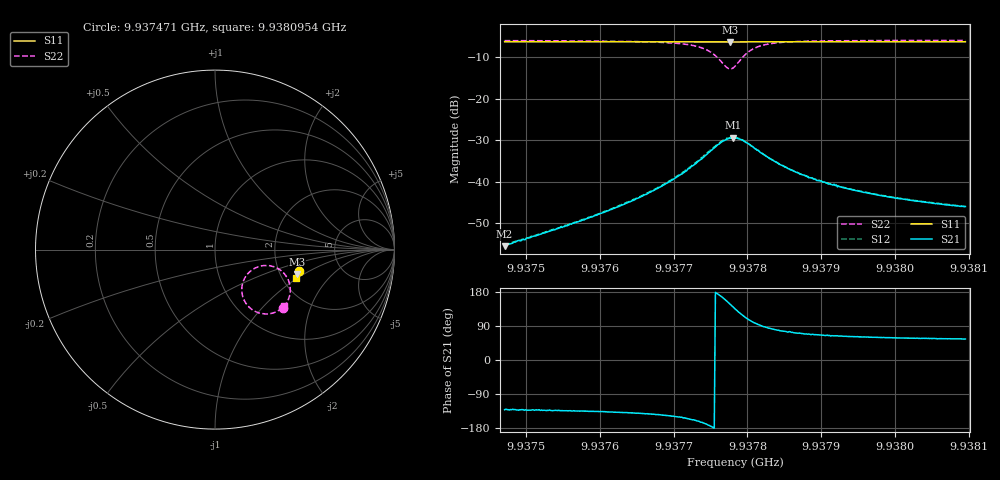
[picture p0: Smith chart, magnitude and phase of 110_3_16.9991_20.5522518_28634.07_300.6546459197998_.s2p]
#  HZ  S  RI  R  50.00
! Rohde & Schwarz Vector Network Analyzer
! Rohde-Schwarz,ZNB20-2Port,1311601062101988,3.16
! Created: UTC 3/20/2024, 10:57:00 PM
! freq[Hz]  re:S11  im:S11  re:S21  im:S21  re:S12  im:S12  re:S22  im:S22
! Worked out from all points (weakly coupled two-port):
!   401 points, 9.937471 GHz to 9.9380954 GHz, reference 50 ohm
!   highest |S21| = -29.44 dB at 9.9377801 GHz (marker M1); lowest = -55.5 dB at 9.937471 GHz (marker M2)
!   lowest |S11| = -6.4 dB at 9.937777 GHz (marker M3), VSWR 2.83, Z = 123 - j43.5 ohm
!   |S11| at or under -10 dB: nowhere
!   |S22| runs from -12.9 to -6.0 dB; largest |S21 - S12| = 0.0016
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9.93747104e9  0.4682 -0.1174  -0.0011 -0.00126  -0.00116 -0.0013  0.3762 -0.3234
9.93757562e9  0.4658 -0.1245  -0.00241 -0.00244  -0.00251 -0.00245  0.3595 -0.3361
9.9376443e9  0.464 -0.1293  -0.00449 -0.00384  -0.00466 -0.00386  0.3372 -0.3479
9.93768019e9  0.4629 -0.1318  -0.0069 -0.00495  -0.00714 -0.00495  0.3151 -0.3554
9.93771141e9  0.4618 -0.1341  -0.0108 -0.00601  -0.0114 -0.00573  0.2787 -0.3585
9.93773951e9  0.4602 -0.136  -0.0186 -0.00489  -0.0194 -0.00446  0.2158 -0.3401
9.93775199e9  0.4592 -0.1366  -0.0241 -0.00157  -0.0249 -0.000896  0.1766 -0.3054
9.93776292e9  0.4584 -0.1365  -0.0285 0.00493  -0.0292 0.0062  0.151 -0.2453
9.93777229e9  0.4578 -0.1361  -0.0293 0.0136  -0.0296 0.0151  0.1588 -0.1735
9.93777697e9  0.4575 -0.1359  -0.0277 0.0183  -0.0276 0.0199  0.179 -0.1387
9.93778009e9  0.4578 -0.1356  -0.0261 0.0213  -0.0256 0.0228  0.1982 -0.1193
9.93778321e9  0.4581 -0.1356  -0.0238 0.0237  -0.0231 0.0251  0.2208 -0.1041
9.93779102e9  0.4585 -0.1353  -0.0171 0.0273  -0.0159 0.0283  0.2816 -0.0886
9.93780038e9  0.459 -0.1358  -0.00915 0.0275  -0.00798 0.0278  0.3429 -0.1016
9.93781755e9  0.4598 -0.1373  -0.000602 0.0224  7.49e-05 0.0226  0.4001 -0.1536
9.93784564e9  0.4599 -0.1399  0.00365 0.0154  0.00384 0.0156  0.4196 -0.2165
9.9378675e9  0.4596 -0.1418  0.00424 0.0121  0.00451 0.0121  0.4182 -0.2442
9.93788779e9  0.459 -0.1435  0.00414 0.0103  0.00442 0.0101  0.4147 -0.2612
9.93792525e9  0.4582 -0.1461  0.00391 0.00776  0.00412 0.00774  0.4074 -0.281
9.93799236e9  0.4565 -0.1505  0.00339 0.00559  0.00352 0.00561  0.3969 -0.3003
9.93805168e9  0.455 -0.1545  0.00301 0.00458  0.00314 0.00456  0.3898 -0.3107
9.93809538e9  0.4537 -0.1573  0.00286 0.00414  0.00292 0.00409  0.3855 -0.3162
